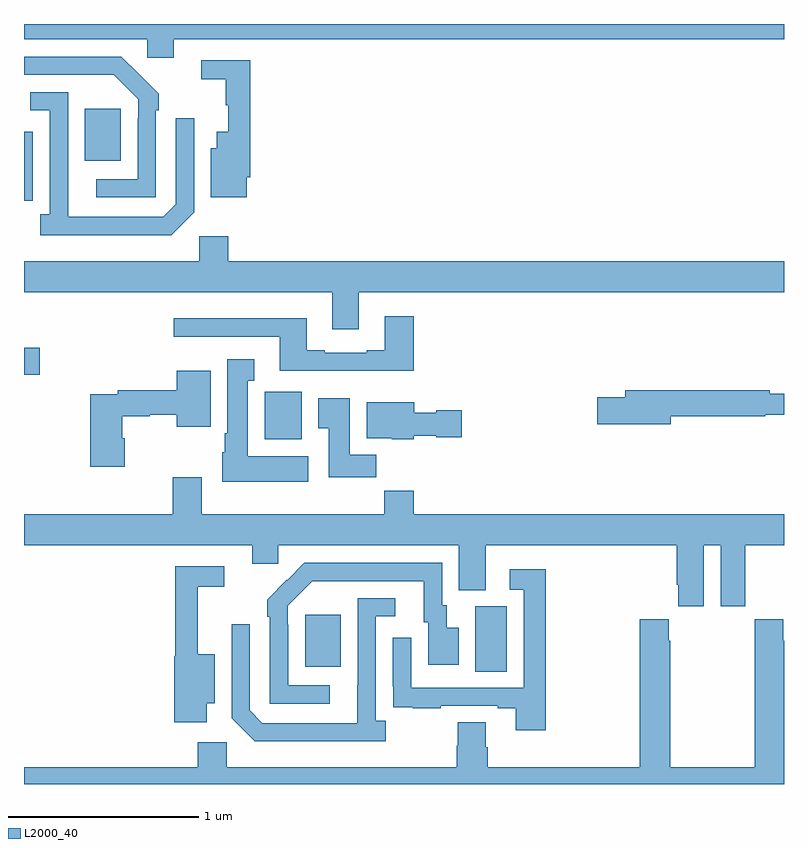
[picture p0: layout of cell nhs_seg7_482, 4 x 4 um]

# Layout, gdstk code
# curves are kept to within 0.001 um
import gdstk
lib = gdstk.Library(unit=1e-6, precision=1e-09)
def R(c, l, rs):  # rectangles x0, y0, x1, y1
    for r in rs: c.add(gdstk.rectangle(r[:2], r[2:], *l))
def P(c, l, *ps):  # polygons
    for p in ps: c.add(gdstk.Polygon(p, *l))
L2000_40 = (2000, 40)

nhs_seg7_482 = lib.new_cell('nhs_seg7_482')
R(nhs_seg7_482, L2000_40, [(151.376,1026.592,151.54,1026.936), (150.479,1026.617,150.667,1026.892), (150.267,1027.814,150.463,1028.064), (149,1028.153,149.083,1028.295), (149.321,1029.281,149.509,1029.555)])
P(nhs_seg7_482, L2000_40, [(149.788,1029.92),(153,1029.92),(153,1030),(149,1030),(149,1029.92),(149.649,1029.92),(149.649,1029.822),(149.788,1029.822)],
  [(149.694,1029.545),(149.709,1029.545),(149.709,1029.633),(149.512,1029.828),(149,1029.828),(149,1029.732),(149.473,1029.732),(149.601,1029.603),(149.601,1029.503),(149.598,1029.503),(149.598,1029.183),(149.379,1029.183),(149.379,1029.087),(149.694,1029.087)],
  [(150.172,1029.193),(150.191,1029.193),(150.191,1029.81),(149.934,1029.81),(149.934,1029.709),(150.063,1029.709),(150.063,1029.573),(150.074,1029.573),(150.074,1029.433),(150.014,1029.433),(150.014,1029.346),(149.984,1029.346),(149.984,1029.089),(150.172,1029.089)],
  [(149.895,1029.009),(149.895,1029.505),(149.799,1029.505),(149.799,1029.051),(149.733,1028.985),(149.233,1028.985),(149.232,1029.642),(149.034,1029.642),(149.034,1029.546),(149.136,1029.546),(149.136,1028.998),(149.085,1028.998),(149.085,1028.888),(149.774,1028.888)],
  [(149.045,1029.178),(149.046,1029.178),(149.046,1029.433),(149,1029.433),(149,1029.069),(149.045,1029.069)],
  [(150.763,1028.588),(153,1028.588),(153,1028.752),(150.074,1028.752),(150.074,1028.884),(149.922,1028.884),(149.922,1028.752),(149,1028.752),(149,1028.588),(150.623,1028.588),(150.623,1028.394),(150.763,1028.394)],
  [(151.052,1028.461),(150.899,1028.461),(150.899,1028.284),(150.803,1028.284),(150.803,1028.271),(150.583,1028.271),(150.583,1028.284),(150.487,1028.284),(150.487,1028.452),(149.787,1028.452),(149.787,1028.355),(150.347,1028.355),(150.347,1028.174),(151.052,1028.174)],
  [(150.496,1027.726),(150.178,1027.726),(150.178,1028.123),(150.211,1028.123),(150.211,1028.236),(150.071,1028.236),(150.071,1027.846),(150.056,1027.846),(150.056,1027.746),(150.044,1027.746),(150.044,1027.592),(150.496,1027.592)],
  [(149.531,1027.821),(149.518,1027.821),(149.518,1027.936),(149.661,1027.936),(149.661,1027.944),(149.804,1027.944),(149.804,1027.88),(149.983,1027.88),(149.983,1028.176),(149.804,1028.176),(149.804,1028.072),(149.494,1028.072),(149.494,1028.052),(149.348,1028.052),(149.348,1027.671),(149.531,1027.671)],
  [(152.404,1027.936),(152.9,1027.936),(152.9,1027.944),(153,1027.944),(153,1028.053),(152.924,1028.053),(152.924,1028.072),(152.165,1028.072),(152.165,1028.036),(152.016,1028.036),(152.016,1027.894),(152.404,1027.894)],
  [(150.854,1027.732),(150.715,1027.732),(150.715,1028.029),(150.548,1028.029),(150.548,1027.873),(150.605,1027.873),(150.605,1027.614),(150.854,1027.614)],
  [(151.05,1027.832),(151.17,1027.832),(151.17,1027.825),(151.303,1027.825),(151.303,1027.967),(151.17,1027.967),(151.17,1027.954),(151.054,1027.954),(151.054,1028.008),(150.803,1028.008),(150.803,1027.82),(150.936,1027.82),(150.936,1027.814),(151.05,1027.814)],
  [(152.578,1027.256),(152.666,1027.256),(152.666,1026.936),(152.796,1026.936),(152.796,1027.048),(152.797,1027.048),(152.797,1027.256),(153,1027.256),(153,1027.42),(151.052,1027.42),(151.052,1027.544),(150.895,1027.544),(150.895,1027.42),(149.935,1027.42),(149.935,1027.615),(149.783,1027.615),(149.783,1027.42),(149,1027.42),(149,1027.256),(150.2,1027.256),(150.2,1027.158),(150.339,1027.158),(150.339,1027.256),(151.289,1027.256),(151.289,1027.021),(151.429,1027.021),(151.429,1027.256),(152.435,1027.256),(152.435,1027.048),(152.444,1027.048),(152.444,1026.936),(152.578,1026.936)],
  [(150.61,1026.519),(150.39,1026.519),(150.39,1026.839),(150.387,1026.839),(150.387,1026.939),(150.516,1027.068),(151.103,1027.068),(151.103,1026.852),(151.127,1026.852),(151.127,1026.627),(151.288,1026.627),(151.288,1026.823),(151.225,1026.823),(151.225,1026.942),(151.2,1026.942),(151.2,1027.164),(150.476,1027.164),(150.279,1026.969),(150.279,1026.881),(150.294,1026.881),(150.294,1026.423),(150.61,1026.423)],
  [(149.962,1026.425),(150.004,1026.425),(150.004,1026.682),(149.915,1026.682),(149.915,1027.038),(150.055,1027.038),(150.055,1027.146),(149.797,1027.146),(149.797,1026.672),(149.792,1026.672),(149.792,1026.324),(149.962,1026.324)],
  [(151.745,1027.129),(151.557,1027.129),(151.557,1027.023),(151.629,1027.023),(151.629,1026.507),(151.038,1026.507),(151.038,1026.769),(150.942,1026.769),(150.942,1026.514),(150.943,1026.514),(150.943,1026.405),(151.045,1026.405),(151.045,1026.399),(151.193,1026.399),(151.193,1026.411),(151.493,1026.411),(151.493,1026.399),(151.589,1026.399),(151.589,1026.282),(151.745,1026.282)],
  [(150.904,1026.334),(150.852,1026.334),(150.852,1026.882),(150.955,1026.882),(150.955,1026.978),(150.756,1026.978),(150.755,1026.321),(150.255,1026.321),(150.189,1026.387),(150.189,1026.841),(150.093,1026.841),(150.093,1026.345),(150.214,1026.224),(150.904,1026.224)],
  [(153,1026.755),(152.997,1026.755),(152.997,1026.868),(152.847,1026.868),(152.847,1026.755),(152.845,1026.755),(152.845,1026.088),(152.4,1026.088),(152.4,1026.755),(152.393,1026.755),(152.393,1026.868),(152.24,1026.868),(152.24,1026.088),(151.442,1026.088),(151.442,1026.194),(151.429,1026.194),(151.429,1026.326),(151.282,1026.326),(151.282,1026.201),(151.277,1026.201),(151.277,1026.088),(150.066,1026.088),(150.066,1026.22),(149.915,1026.22),(149.915,1026.088),(149,1026.088),(149,1026),(153,1026)])

lib.write_gds('nhs_seg7_482.gds')
